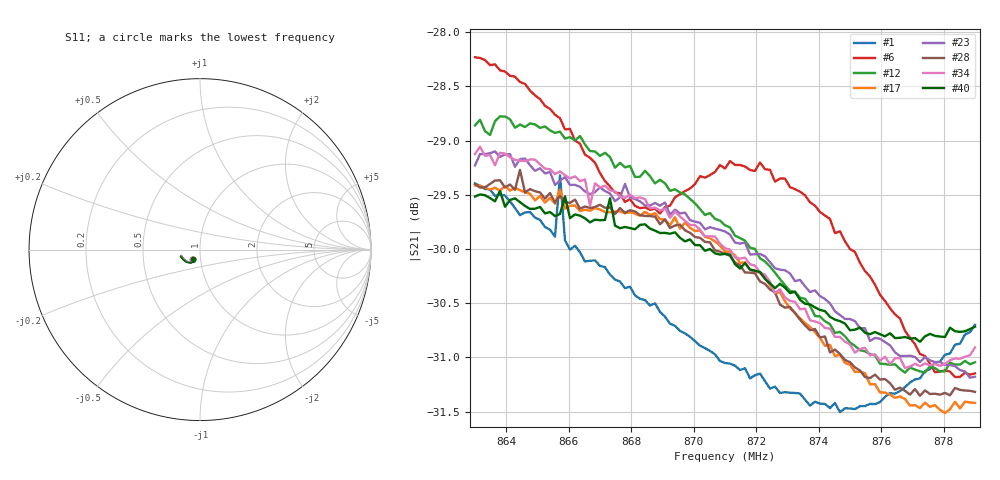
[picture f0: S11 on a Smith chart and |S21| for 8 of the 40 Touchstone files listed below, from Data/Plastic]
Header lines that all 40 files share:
# HZ S RI R 50
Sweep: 863 MHz to 879 MHz
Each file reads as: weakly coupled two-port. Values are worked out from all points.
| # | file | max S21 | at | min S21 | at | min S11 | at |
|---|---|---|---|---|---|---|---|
| 1 | po4s9.s2p | -29.32 dB | 865.72 MHz | -31.5 dB | 874.68 MHz | -23.0 dB | 864.12 MHz |
| 2 | po4s10.s2p | -29.29 dB | 863 MHz | -31.5 dB | 874.36 MHz | -23.1 dB | 863.96 MHz |
| 3 | po4s11.s2p | -29.11 dB | 863 MHz | -31.6 dB | 874.84 MHz | -23.2 dB | 863.96 MHz |
| 4 | po4s12.s2p | -29.14 dB | 863 MHz | -31.8 dB | 875 MHz | -23.2 dB | 864.44 MHz |
| 5 | po4s13.s2p | -29.04 dB | 863.32 MHz | -31.6 dB | 875 MHz | -23.2 dB | 863.16 MHz |
| 6 | po5s2.s2p | -28.23 dB | 863 MHz | -31.2 dB | 878.52 MHz | -23.7 dB | 864.44 MHz |
| 7 | po5s3.s2p | -28.91 dB | 863.64 MHz | -30.8 dB | 877.88 MHz | -23.8 dB | 863.96 MHz |
| 8 | po5s5.s2p | -28.90 dB | 864.92 MHz | -30.8 dB | 877.88 MHz | -23.8 dB | 864.92 MHz |
| 9 | po5s7.s2p | -28.71 dB | 864.44 MHz | -30.8 dB | 878.52 MHz | -23.7 dB | 864.44 MHz |
| 10 | po5s9.s2p | -28.84 dB | 863.96 MHz | -31.0 dB | 879 MHz | -23.7 dB | 864.44 MHz |
| 11 | po6s4.s2p | -28.98 dB | 863.96 MHz | -31.2 dB | 877.24 MHz | -23.8 dB | 863.96 MHz |
| 12 | po6s5.s2p | -28.78 dB | 863.8 MHz | -31.1 dB | 876.76 MHz | -23.8 dB | 864.92 MHz |
| 13 | po6s7.s2p | -28.89 dB | 864.44 MHz | -31.2 dB | 877.88 MHz | -24.0 dB | 864.44 MHz |
| 14 | po6s8.s2p | -29.18 dB | 863.64 MHz | -30.8 dB | 878.36 MHz | -23.9 dB | 865.24 MHz |
| 15 | po7s0.s2p | -29.16 dB | 863.64 MHz | -31.4 dB | 877.24 MHz | -24.0 dB | 865.08 MHz |
| 16 | po7s1.s2p | -29.32 dB | 863 MHz | -31.5 dB | 876.92 MHz | -23.8 dB | 864.44 MHz |
| 17 | po7s3.s2p | -29.41 dB | 863 MHz | -31.5 dB | 878.04 MHz | -23.7 dB | 864.44 MHz |
| 18 | po7s4.s2p | -29.15 dB | 863.64 MHz | -31.2 dB | 877.24 MHz | -23.8 dB | 863.96 MHz |
| 19 | po7s5.s2p | -29.30 dB | 863.8 MHz | -31.6 dB | 878.04 MHz | -24.1 dB | 864.44 MHz |
| 20 | po7s6.s2p | -29.04 dB | 863.96 MHz | -31.2 dB | 877.24 MHz | -23.6 dB | 866.04 MHz |
| 21 | po7s7.s2p | -29.29 dB | 863.16 MHz | -30.8 dB | 876.12 MHz | -24.0 dB | 864.92 MHz |
| 22 | po7s9.s2p | -28.77 dB | 865.56 MHz | -31.4 dB | 877.72 MHz | -24.3 dB | 865.56 MHz |
| 23 | po8s0.s2p | -29.10 dB | 863.64 MHz | -31.2 dB | 878.84 MHz | -23.7 dB | 864.6 MHz |
| 24 | po8s1.s2p | -28.97 dB | 863 MHz | -31.3 dB | 878.36 MHz | -23.5 dB | 865.56 MHz |
| 25 | po8s2.s2p | -29.38 dB | 863.16 MHz | -31.4 dB | 877.88 MHz | -23.7 dB | 865.24 MHz |
| 26 | po8s3.s2p | -29.35 dB | 864.92 MHz | -31.5 dB | 877.72 MHz | -23.9 dB | 864.92 MHz |
| 27 | po8s4.s2p | -29.37 dB | 863.64 MHz | -31.5 dB | 876.92 MHz | -23.7 dB | 865.08 MHz |
| 28 | po8s6.s2p | -29.27 dB | 864.44 MHz | -31.4 dB | 877.24 MHz | -24.1 dB | 864.44 MHz |
| 29 | po8s7.s2p | -29.35 dB | 863.96 MHz | -31.4 dB | 876.92 MHz | -23.7 dB | 865.24 MHz |
| 30 | po8s8.s2p | -29.19 dB | 863.16 MHz | -31.5 dB | 878.04 MHz | -23.7 dB | 865.4 MHz |
| 31 | po9s0.s2p | -29.96 dB | 864.12 MHz | -31.2 dB | 876.44 MHz | -24.4 dB | 864.12 MHz |
| 32 | po9s2.s2p | -29.15 dB | 863.64 MHz | -31.4 dB | 877.4 MHz | -23.8 dB | 863.96 MHz |
| 33 | po9s3.s2p | -29.18 dB | 863.32 MHz | -31.2 dB | 877.24 MHz | -23.9 dB | 864.44 MHz |
| 34 | po9s4.s2p | -29.06 dB | 863.16 MHz | -31.1 dB | 876.76 MHz | -23.7 dB | 865.24 MHz |
| 35 | po9s6.s2p | -29.10 dB | 863.64 MHz | -30.9 dB | 876.76 MHz | -23.9 dB | 865.24 MHz |
| 36 | po10s0.s2p | -29.20 dB | 863.16 MHz | -31.0 dB | 878.04 MHz | -23.9 dB | 866.52 MHz |
| 37 | po10s1.s2p | -29.55 dB | 863 MHz | -30.7 dB | 876.92 MHz | -23.8 dB | 864.44 MHz |
| 38 | po10s2.s2p | -29.51 dB | 866.36 MHz | -30.6 dB | 876.92 MHz | -24.0 dB | 864.92 MHz |
| 39 | po10s3.s2p | -29.43 dB | 864.28 MHz | -30.5 dB | 876.76 MHz | -24.0 dB | 865.56 MHz |
| 40 | po10s6.s2p | -29.46 dB | 863.8 MHz | -30.9 dB | 877.24 MHz | -24.3 dB | 865.88 MHz |
